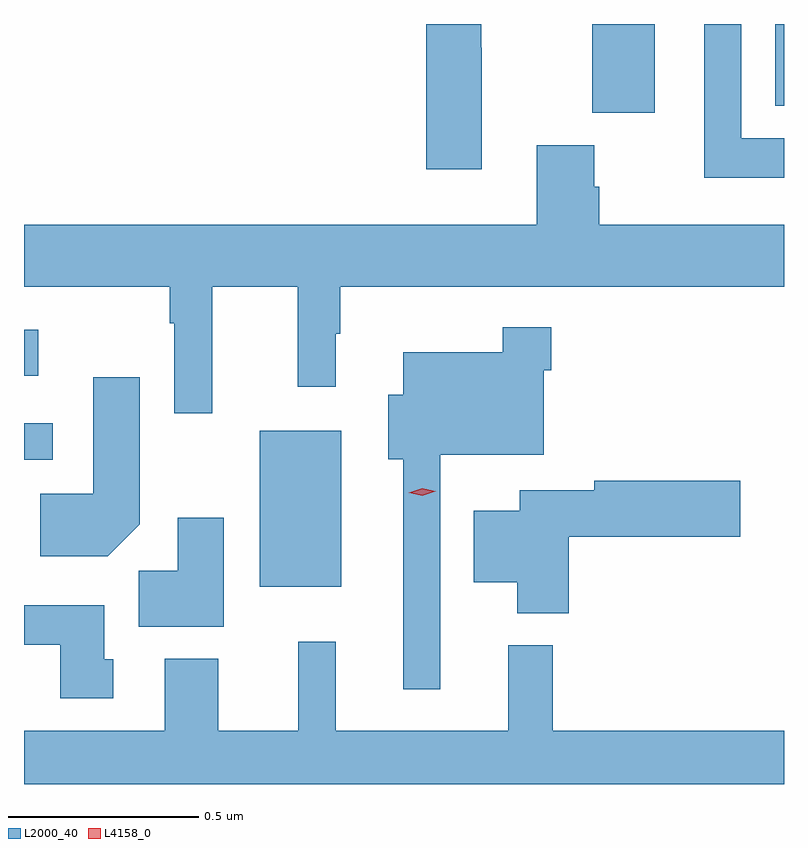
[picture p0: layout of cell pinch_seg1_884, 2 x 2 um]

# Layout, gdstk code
import gdstk
lib = gdstk.Library(unit=1e-6, precision=1e-09)
def R(c, l, rs):  # rectangles x0, y0, x1, y1
    for r in rs: c.add(gdstk.rectangle(r[:2], r[2:], *l))
def P(c, l, *ps):  # polygons
    for p in ps: c.add(gdstk.Polygon(p, *l))
L2000_40 = (2000, 40)
L4158_0 = (4158, 0)

pinch_seg1_884 = lib.new_cell('pinch_seg1_884')
R(pinch_seg1_884, L2000_40, [(498.134,529.631,498.349,530.041), (497.514,529.965,497.59,530.061), (497.514,530.186,497.551,530.308), (499.01,530.878,499.174,531.112), (499.491,530.897,499.514,531.112)])
P(pinch_seg1_884, L2000_40, [(498.718,531.05),(498.717,531.05),(498.717,531.112),(498.572,531.112),(498.572,530.73),(498.718,530.73)],
  [(499.514,530.812),(499.401,530.812),(499.401,531.112),(499.304,531.112),(499.304,530.708),(499.514,530.708)],
  [(498.009,530.42),(498.235,530.42),(498.235,530.157),(498.334,530.157),(498.334,530.297),(498.346,530.297),(498.346,530.42),(499.514,530.42),(499.514,530.584),(499.028,530.584),(499.028,530.684),(499.015,530.684),(499.015,530.793),(498.863,530.793),(498.863,530.584),(497.514,530.584),(497.514,530.42),(497.898,530.42),(497.898,530.324),(497.91,530.324),(497.91,530.088),(498.009,530.088)],
  [(498.609,529.979),(498.882,529.979),(498.882,530.201),(498.902,530.201),(498.902,530.314),(498.774,530.314),(498.774,530.248),(498.512,530.248),(498.512,530.137),(498.473,530.137),(498.473,529.967),(498.512,529.967),(498.512,529.362),(498.609,529.362)],
  [(497.818,529.796),(497.818,530.182),(497.696,530.182),(497.696,529.876),(497.557,529.876),(497.557,529.712),(497.734,529.712)],
  [(498.947,529.763),(499.399,529.763),(499.399,529.91),(499.014,529.91),(499.014,529.885),(498.818,529.885),(498.818,529.831),(498.698,529.831),(498.698,529.643),(498.812,529.643),(498.812,529.562),(498.947,529.562)],
  [(498.04,529.813),(497.918,529.813),(497.918,529.673),(497.816,529.673),(497.816,529.526),(498.04,529.526)],
  [(497.749,529.44),(497.725,529.44),(497.725,529.582),(497.514,529.582),(497.514,529.478),(497.609,529.478),(497.609,529.338),(497.749,529.338)],
  [(499.514,529.252),(498.905,529.252),(498.905,529.477),(498.788,529.477),(498.788,529.252),(498.335,529.252),(498.335,529.486),(498.236,529.486),(498.236,529.252),(498.025,529.252),(498.025,529.441),(497.885,529.441),(497.885,529.252),(497.514,529.252),(497.514,529.112),(499.514,529.112)])
P(pinch_seg1_884, L4158_0, [(498.562,529.871),(498.527,529.879),(498.526,529.879),(498.527,529.879),(498.562,529.89),(498.598,529.882),(498.598,529.882),(498.598,529.882)])

lib.write_gds('pinch_seg1_884.gds')
